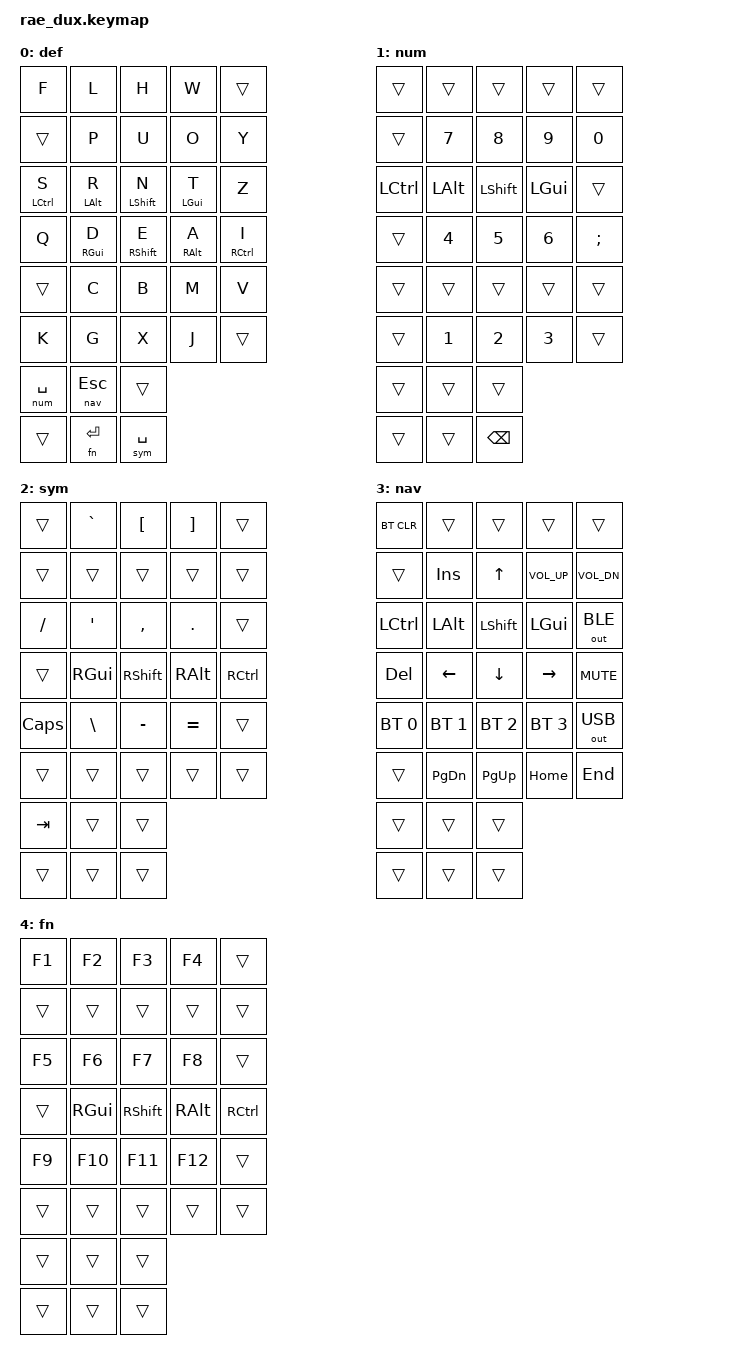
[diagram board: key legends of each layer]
/*
 * Copyright (c) 2021 The ZMK Contributors
 *
 * SPDX-License-Identifier: MIT
 */

#include <behaviors.dtsi>
#include <dt-bindings/zmk/keys.h>
#include <dt-bindings/zmk/bt.h>
#include <dt-bindings/zmk/outputs.h>

#define def 0
#define num 1
#define sym 2
// #define num_s 3
// #define sym_s 4
#define nav 3
#define fn 4
#define _bt 5
// #define qwerty 6

// &kscan0 {
//     debounce-period = <16>;
// };

&lt {
    flavor = "balanced";
    tapping-term-ms = <1024>;
};

&mt {
    flavor = "balanced";
    tapping-term-ms = <1024>;
};

// &sk {
//     quick-release;
// };

/*                KEY POSITIONS

                  ╭────────────────────╮ ╭────────────────────╮
                  │  0   1   2   3   4 │ │  5   6   7   8   9 │
                  │ 10  11  12  13  14 │ │ 15  16  17  18  19 │
                  │ 20  21  22  23  24 │ │ 25  26  27  28  29 │
                  ╰───────╮ 30  31  32 │ │ 33  34  35 ╭───────╯
                          ╰────────────╯ ╰────────────╯
 */

/ {
    // behaviors {
    //     hm_l: left_hand_positional_hold_tap {
    //         compatible = "zmk,behavior-hold-tap";
    //         label = "LEFT_POSITIONAL_HOLD_TAP";
    //         #binding-cells = <2>;
    //         flavor = "balanced";
    //         tapping-term-ms = <1024>;
    //         bindings = <&kp>, <&kp>;
    //         // hold-trigger-key-positions = <5 6 7 8 9 10 11 12 13 15 16 17 18 19 25 26 27 28 29 30 31 32 33 34 35>;
    //     };
    //     hm_r: right_hand_positional_hold_tap {
    //         compatible = "zmk,behavior-hold-tap";
    //         label = "RIGHT_POSITIONAL_HOLD_TAP";
    //         #binding-cells = <2>;
    //         flavor = "balanced";
    //         tapping-term-ms = <1024>;
    //         bindings = <&kp>, <&kp>;
    //         // hold-trigger-key-positions = <0 1 2 3 4 10 11 12 13 14 16 17 18 19 20 21 22 23 24 30 31 32 33 34 35>;
    //         };
    //     };

    keymap {
        compatible = "zmk,keymap";


        def {
//             ┌─────┐                                                 ┌─────┐
//       ┌─────┤  H  ├─────┬─────┐                         ┌─────┬─────┤  U  ├─────┐
// ┌─────┤  L  ├─────┤  W  │     │                         │     │  P  ├─────┤  O  ├─────┐
// │  F  ├─────┤  N  ├─────┼─────┤                         ├─────┼─────┤  E  ├─────┤  Y  │
// ├─────┤  R  ├─SFT─┤  T  │  Z  │                         │  Q  │  D  ├─SFT─┤  A  ├─────┤
// │  S  ├─ALT─┤  B  ├─GUI─┼─────┤                         ├─────┼─GUI─┤  X  ├─ALT─┤  I  │
// ├─CTL─┤  C  ├─────┤  M  │  V  │                         │  K  │  G  ├─────┤  J  ├─CTL─┤
// │     ├─────┘     └─────┴─────┘                         └─────┴─────┘     └─────┤     │
// └─────┘               ┌─────┐                              ┌─────┐              └─────┘
//                       │ SPC ├─────┐                  ┌─────┤ SPC │
//                       └─num─┤ ESC ├─────┐      ┌─────┤ RET ├─sym─┘
//                             └─nav─┤     │      │     ├─fn──┘
//                                   └─────┘      └─────┘
            bindings = <
                &kp F           &kp L           &kp H           &kp W          &trans
                &trans          &kp P           &kp U           &kp O          &kp Y

                &mt LCTRL S     &mt LALT R      &mt LSHFT N     &mt LGUI T     &kp Z
                &kp Q           &mt RGUI D      &mt RSHFT E     &mt RALT A     &mt RCTRL I

                &trans          &kp C           &kp B           &kp M          &kp V
                &kp K           &kp G           &kp X           &kp J          &trans

                &lt num SPACE   &lt nav ESC     &trans
                &trans          &lt fn RET      &lt sym SPACE
                >;
        };


        num {
//             ┌─────┐                                                 ┌─────┐
//       ┌─────┤     ├─────┬─────┐                         ┌─────┬─────┤  8  ├─────┐
// ┌─────┤     ├─────┤     │     │                         │     │  7  ├─────┤  9  ├─────┐
// │     ├─────┤ SFT ├─────┼─────┤                         ├─────┼─────┤  5  ├─────┤  0  │
// ├─────┤ ALT ├─────┤ GUI │     │                         │     │  4  ├─────┤  6  ├─────┤
// │ CTL ├─────┤     ├─────┼─────┤                         ├─────┼─────┤  2  ├─────┤  ;  │
// ├─────┤     ├─────┤     │     │                         │     │  1  ├─────┤  3  ├─────┤
// │     ├─────┘     └─────┴─────┘                         └─────┴─────┘     └─────┤     │
// └─────┘               ┌─────┐                              ┌─────┐              └─────┘
//                       │     ├─────┐                  ┌─────┤ BSP │
//                       └─────┤     ├─────┐      ┌─────┤     ├─────┘
//                             └─────┤     │      │     ├─────┘
//                                   └─────┘      └─────┘
            bindings = <
                &trans      &trans     &trans      &trans     &trans
                &trans      &kp N7     &kp N8      &kp N9     &kp N0

                &kp LCTRL   &kp LALT   &kp LSHFT   &kp LGUI   &trans
                &trans      &kp N4     &kp N5      &kp N6     &kp SEMI

                &trans      &trans     &trans      &trans     &trans
                &trans      &kp N1     &kp N2      &kp N3     &trans

                &trans      &trans      &trans
                &trans      &trans      &kp BSPC
                >;
        };


        sym {
//             ┌─────┐                                                 ┌─────┐
//       ┌─────┤  [  ├─────┬─────┐                         ┌─────┬─────┤     ├─────┐
// ┌─────┤  `  ├─────┤  ]  │     │                         │     │     ├─────┤     ├─────┐
// │     ├─────┤  ,  ├─────┼─────┤                         ├─────┼─────┤ SFT ├─────┤     │
// ├─────┤  '  ├─────┤  .  │     │                         │     │ GUI ├─────┤ ALT ├─────┤
// │  /  ├─────┤  -  ├─────┼─────┤                         ├─────┼─────┤     ├─────┤ CTL │
// ├─────┤  \  ├─────┤  =  │     │                         │     │     ├─────┤     ├─────┤
// │ CAP ├─────┘     └─────┴─────┘                         └─────┴─────┘     └─────┤     │
// └─────┘               ┌─────┐                              ┌─────┐              └─────┘
//                       │     ├─────┐                  ┌─────┤     │
//                       └─────┤ TAB ├─────┐      ┌─────┤     ├─────┘
//                             └─────┤     │      │     ├─────┘
//                                   └─────┘      └─────┘
            bindings = <
                &trans      &kp GRAVE   &kp LBKT      &kp RBKT    &trans
                &trans      &trans      &trans        &trans      &trans

                &kp SLASH   &kp SQT     &kp COMMA     &kp DOT     &trans
                &trans      &kp RGUI    &kp RSHFT     &kp RALT    &kp RCTRL

                &kp CAPS    &kp BSLH    &kp MINUS     &kp EQUAL   &trans
                &trans      &trans      &trans        &trans      &trans

                &kp TAB     &trans      &trans
                &trans      &trans      &trans
                >;
        };


/*
        num_s {
//             ┌─────┐                                                 ┌─────┐
//       ┌─────┤     ├─────┬─────┐                         ┌─────┬─────┤  *  ├─────┐
// ┌─────┤     ├─────┤     │     │                         │     │  &  ├─────┤  (  ├─────┐
// │     ├─────┤     ├─────┼─────┤                         ├─────┼─────┤  %  ├─────┤  )  │
// ├─────┤     ├─────┤     │     │                         │     │  $  ├─────┤  ^  ├─────┤
// │     ├─────┤     ├─────┼─────┤                         ├─────┼─────┤  @  ├─────┤  :  │
// ├─────┤     ├─────┤     │     │                         │     │  !  ├─────┤  #  ├─────┤
// │     ├─────┘     └─────┴─────┘                         └─────┴─────┘     └─────┤  G  │
// └─────┘               ┌─────┐                              ┌─────┐              └─────┘
//                       │     ├─────┐                  ┌─────┤     │
//                       └─────┤     ├─────┐      ┌─────┤     ├─────┘
//                             └─────┤     │      │     ├─────┘
//                                   └─────┘      └─────┘
            bindings = <
                &trans      &trans     &trans      &trans      &trans
                &trans      &kp AMPS   &kp ASTRK   &kp LPAR    &kp RPAR

                &trans      &trans     &trans      &trans      &trans
                &trans      &kp DLLR   &kp PRCNT   &kp CARET   &kp COLON

                &trans      &trans     &trans      &trans      &trans
                &trans      &kp EXCL   &kp AT      &kp HASH    &kp LS(G)

                &trans      &trans     &trans
                &trans      &trans     &trans
                >;
        };
*/


/*
        sym_s {
//             ┌─────┐                                                 ┌─────┐
//       ┌─────┤  {  ├─────┬─────┐                         ┌─────┬─────┤     ├─────┐
// ┌─────┤  ~  ├─────┤  }  │     │                         │     │     ├─────┤     ├─────┐
// │  z  ├─────┤  <  ├─────┼─────┤                         ├─────┼─────┤     ├─────┤     │
// ├─────┤  "  ├─────┤  >  │     │                         │     │     ├─────┤     ├─────┤
// │  ?  ├─────┤  _  ├─────┼─────┤                         ├─────┼─────┤     ├─────┤     │
// ├─────┤  |  ├─────┤  +  │     │                         │     │     ├─────┤     ├─────┤
// │     ├─────┘     └─────┴─────┘                         └─────┴─────┘     └─────┤     │
// └─────┘               ┌─────┐                              ┌─────┐              └─────┘
//                       │     ├─────┐                  ┌─────┤     │
//                       └─────┤     ├─────┐      ┌─────┤     ├─────┘
//                             └─────┤     │      │     ├─────┘
//                                   └─────┘      └─────┘
            bindings = <
                &kp RS(Z)   &kp TILDE   &kp LBRC    &kp RBRC   &trans
                &trans      &trans      &trans      &trans     &trans

                &kp QMARK   &kp DQT     &kp LT      &kp GT     &trans
                &trans      &trans      &trans      &trans     &trans

                &trans      &kp PIPE    &kp UNDER   &kp PLUS   &trans
                &trans      &trans      &trans      &trans     &trans

                &trans      &trans      &trans
                &trans      &trans      &trans
                >;
        };
*/


        nav {
//             ┌─────┐                                                 ┌─────┐
//       ┌─────┤     ├─────┬─────┐                         ┌─────┬─────┤  ↑  ├─────┐
// ┌─────┤     ├─────┤     │     │                         │     │ Ins ├─────┤ VlU ├─────┐
// │ BtC ├─────┤ SFT ├─────┼─────┤                         ├─────┼─────┤  ↓  ├─────┤ VlD │
// ├─────┤ ALT ├─────┤ GUI │ Ble │                         │ Del │  ←  ├─────┤  →  ├─────┤
// │ CTL ├─────┤ Bt2 ├─────┼─────┤                         ├─────┼─────┤ PgU ├─────┤ Mut │
// ├─────┤ Bt1 ├─────┤ Bt3 │ Usb │                         │     │ PgD ├─────┤ Hom ├─────┤
// │ Bt0 ├─────┘     └─────┴─────┘                         └─────┴─────┘     └─────┤ End │
// └─────┘               ┌─────┐                              ┌─────┐              └─────┘
//                       │     ├─────┐                  ┌─────┤     │
//                       └─────┤     ├─────┐      ┌─────┤     ├─────┘
//                             └─────┤     │      │     ├─────┘
//                                   └─────┘      └─────┘
            bindings = <
                &bt BT_CLR     &trans         &trans         &trans         &trans
                &trans         &kp INS        &kp UP         &kp C_VOL_UP   &kp C_VOL_DN

                &kp LCTRL      &kp LALT       &kp LSHFT      &kp LGUI       &out OUT_BLE
                &kp DEL        &kp LEFT       &kp DOWN       &kp RIGHT      &kp K_MUTE

                &bt BT_SEL 0   &bt BT_SEL 1   &bt BT_SEL 2   &bt BT_SEL 3   &out OUT_USB
                &trans         &kp PG_DN      &kp PG_UP      &kp HOME       &kp END

                &trans         &trans         &trans
                &trans         &trans         &trans
                >;
        };


        fn {
//             ┌─────┐                                                 ┌─────┐
//       ┌─────┤ F3  ├─────┬─────┐                         ┌─────┬─────┤     ├─────┐
// ┌─────┤ F2  ├─────┤ F4  │     │                         │     │     ├─────┤     ├─────┐
// │ F1  ├─────┤ F7  ├─────┼─────┤                         ├─────┼─────┤ SFT ├─────┤     │
// ├─────┤ F6  ├─────┤ F8  │     │                         │     │ GUI ├─────┤ ALT ├─────┤
// │ F5  ├─────┤ F11 ├─────┼─────┤                         ├─────┼─────┤     ├─────┤ CTL │
// ├─────┤ F10 ├─────┤ F12 │     │                         │     │     ├─────┤     ├─────┤
// │ F9  ├─────┘     └─────┴─────┘                         └─────┴─────┘     └─────┤     │
// └─────┘               ┌─────┐                              ┌─────┐              └─────┘
//                       │     ├─────┐                  ┌─────┤     │
//                       └─────┤     ├─────┐      ┌─────┤     ├─────┘
//                             └─────┤     │      │     ├─────┘
//                                   └─────┘      └─────┘
            bindings = <
                &kp F1    &kp F2     &kp F3      &kp F4     &trans
                &trans    &trans     &trans      &trans     &trans

                &kp F5    &kp F6     &kp F7      &kp F8     &trans
                &trans    &kp RGUI   &kp RSHFT   &kp RALT   &kp RCTRL

                &kp F9    &kp F10    &kp F11      &kp F12   &trans
                &trans    &trans     &trans       &trans    &trans

                &trans    &trans     &trans
                &trans    &trans     &trans
                >;
        };


//         qwerty {
// //             ┌─────┐                                                 ┌─────┐
// //       ┌─────┤  E  ├─────┬─────┐                         ┌─────┬─────┤  I  ├─────┐
// // ┌─────┤  W  ├─────┤  R  │  T  │                         │  Y  │  U  ├─────┤  O  ├─────┐
// // │  Q  ├─────┤  D  ├─────┼─────┤                         ├─────┼─────┤  K  ├─────┤  P  │
// // ├─────┤  S  ├─────┤  F  │  G  │                         │  H  │  J  ├─────┤  L  ├─────┤
// // │  A  ├─────┤  C  ├─────┼─────┤                         ├─────┼─────┤  ,  ├─────┤  ;  │
// // ├─────┤  X  ├─────┤  V  │  B  │                         │  N  │  M  ├─────┤  .  ├─────┤
// // │  Z  ├─────┘     └─────┴─────┘                         └─────┴─────┘     └─────┤  /  │
// // └─────┘               ┌─────┐                              ┌─────┐              └─────┘
// //                       │     ├─────┐                  ┌─────┤     │
// //                       └─────┤     ├─────┐      ┌─────┤     ├─────┘
// //                             └─────┤ def │      │     ├─────┘
// //                                   └─────┘      └─────┘
//             bindings = <
//                 &kp Q     &kp W      &kp E       &kp R      &kp T
//                 &kp Y     &kp U      &kp I       &kp O      &kp P
// 
//                 &kp A     &kp S      &kp D       &kp F      &kp G
//                 &kp H     &kp J      &kp K       &kp L      &kp SEMI
// 
//                 &kp Z     &kp X      &kp C       &kp V      &kp B
//                 &kp N     &kp M      &kp COMMA   &kp DOT    &kp SLASH
// 
//                 &trans    &trans     &tog qwerty
//                 &trans    &trans     &trans
//                 >;
//         };


    };
};
